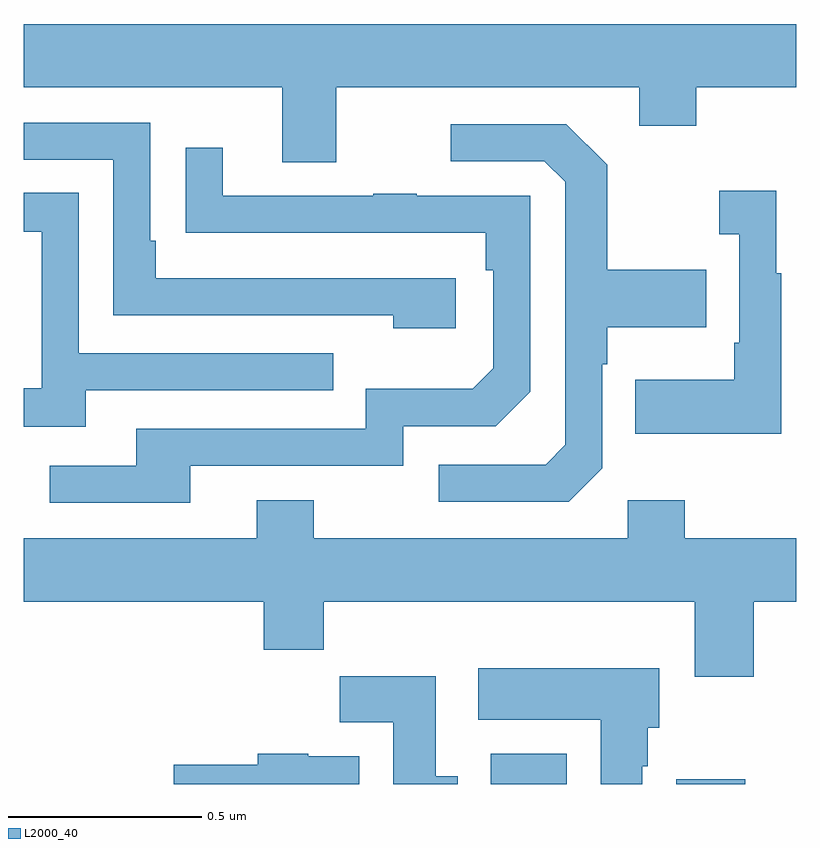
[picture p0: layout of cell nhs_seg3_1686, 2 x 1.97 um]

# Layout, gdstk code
import gdstk
lib = gdstk.Library(unit=1e-6, precision=1e-09)
def R(c, l, rs):  # rectangles x0, y0, x1, y1
    for r in rs: c.add(gdstk.rectangle(r[:2], r[2:], *l))
def P(c, l, *ps):  # polygons
    for p in ps: c.add(gdstk.Polygon(p, *l))
L2000_40 = (2000, 40)

nhs_seg3_1686 = lib.new_cell('nhs_seg3_1686')
R(nhs_seg3_1686, L2000_40, [(132.209,744.4,132.406,744.478), (132.689,744.4,132.868,744.412)])
P(nhs_seg3_1686, L2000_40, [(131.809,746.204),(132.593,746.204),(132.593,746.105),(132.741,746.105),(132.741,746.204),(133,746.204),(133,746.368),(131,746.368),(131,746.204),(131.669,746.204),(131.669,746.01),(131.809,746.01)],
  [(132.118,745.71),(131.341,745.71),(131.341,745.807),(131.328,745.807),(131.328,746.112),(131,746.112),(131,746.016),(131.232,746.016),(131.232,745.614),(131.957,745.614),(131.957,745.58),(132.118,745.58)],
  [(132.498,745.218),(132.498,745.487),(132.511,745.487),(132.511,745.583),(132.767,745.583),(132.767,745.731),(132.511,745.731),(132.511,746.003),(132.405,746.109),(132.105,746.109),(132.105,746.013),(132.348,746.013),(132.402,745.959),(132.402,745.278),(132.351,745.227),(132.075,745.227),(132.075,745.131),(132.411,745.131)],
  [(131.431,745.224),(131.982,745.224),(131.982,745.326),(132.222,745.326),(132.312,745.416),(132.312,745.923),(132.017,745.923),(132.017,745.928),(131.905,745.928),(131.905,745.923),(131.515,745.923),(131.515,746.047),(131.419,746.047),(131.419,745.828),(131.521,745.828),(131.521,745.827),(132.196,745.827),(132.196,745.73),(132.216,745.73),(132.216,745.476),(132.163,745.423),(131.886,745.423),(131.886,745.32),(131.291,745.32),(131.291,745.224),(131.067,745.224),(131.067,745.128),(131.431,745.128)],
  [(132.961,745.723),(132.949,745.723),(132.949,745.936),(132.801,745.936),(132.801,745.823),(132.852,745.823),(132.852,745.543),(132.84,745.543),(132.84,745.447),(132.583,745.447),(132.583,745.307),(132.961,745.307)],
  [(131.161,745.419),(131.801,745.419),(131.801,745.515),(131.142,745.515),(131.142,745.931),(131,745.931),(131,745.83),(131.046,745.83),(131.046,745.425),(131,745.425),(131,745.325),(131.161,745.325)],
  [(132.89,744.872),(133,744.872),(133,745.036),(132.711,745.036),(132.711,745.135),(132.564,745.135),(132.564,745.036),(131.751,745.036),(131.751,745.135),(131.603,745.135),(131.603,745.036),(131,745.036),(131,744.872),(131.621,744.872),(131.621,744.748),(131.777,744.748),(131.777,744.872),(132.737,744.872),(132.737,744.678),(132.89,744.678)],
  [(132.601,744.446),(132.616,744.446),(132.616,744.546),(132.646,744.546),(132.646,744.7),(132.177,744.7),(132.177,744.566),(132.494,744.566),(132.494,744.4),(132.601,744.4)],
  [(132.124,744.42),(132.067,744.42),(132.067,744.679),(131.818,744.679),(131.818,744.56),(131.957,744.56),(131.957,744.4),(132.124,744.4)],
  [(131.869,744.472),(131.736,744.472),(131.736,744.478),(131.606,744.478),(131.606,744.45),(131.388,744.45),(131.388,744.4),(131.869,744.4)])

lib.write_gds('nhs_seg3_1686.gds')
